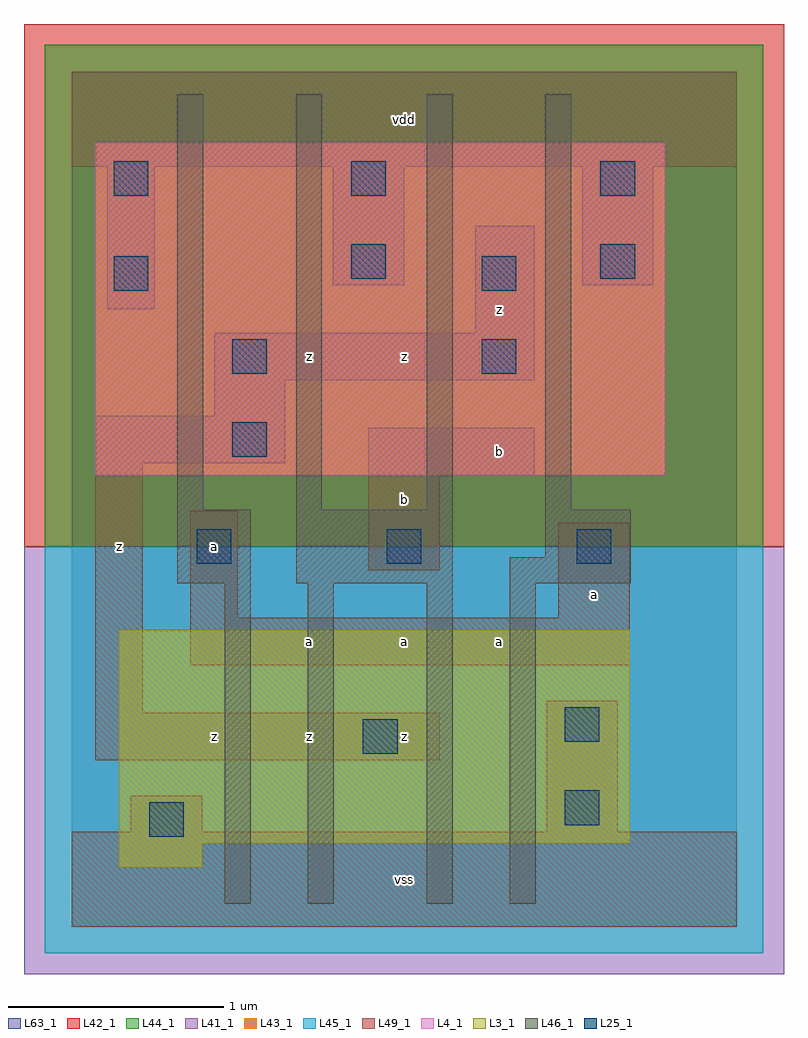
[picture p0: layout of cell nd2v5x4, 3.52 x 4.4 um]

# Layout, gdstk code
import gdstk
lib = gdstk.Library(unit=1e-6, precision=1e-09)
def R(c, l, rs):  # rectangles x0, y0, x1, y1
    for r in rs: c.add(gdstk.rectangle(r[:2], r[2:], *l))
def A(c, l, x, y, w, h, nx, ny, dx, dy):  # array of equal rectangles
    R(c, l, [(x+i*dx, y+j*dy, x+i*dx+w, y+j*dy+h) for i in range(nx) for j in range(ny)])
L3_1 = (3, 1)
L4_1 = (4, 1)
L25_1 = (25, 1)
L41_1 = (41, 1)
L42_1 = (42, 1)
L43_1 = (43, 1)
L44_1 = (44, 1)
L45_1 = (45, 1)
L46_1 = (46, 1)
L49_1 = (49, 1)
L63_1 = (63, 1)

nd2v5x4 = lib.new_cell('nd2v5x4')
R(nd2v5x4, L3_1, [(0.22,0.275,0.605,0.385), (0.22,0.385,2.585,1.375)])
R(nd2v5x4, L4_1, [(0.11,2.09,2.75,3.63)])
A(nd2v5x4, L25_1, 0.58, 1.68, 0.16, 0.16, 3, 1, 0.88, 0)
R(nd2v5x4, L25_1, [(0.36,0.415,0.52,0.575), (2.285,0.47,2.445,0.63), (1.35,0.8,1.51,0.96), (2.285,0.855,2.445,1.015), (0.745,2.175,0.905,2.335), (0.745,2.56,0.905,2.72), (1.9,2.56,2.06,2.72), (0.195,2.945,0.355,3.105), (1.9,2.945,2.06,3.105), (1.295,3,1.455,3.16), (2.45,3,2.61,3.16), (0.195,3.385,0.355,3.545), (1.295,3.385,1.455,3.545), (2.45,3.385,2.61,3.545)])
R(nd2v5x4, L41_1, [(-0.22,-0.22,3.3,1.76)])
R(nd2v5x4, L42_1, [(-0.22,1.76,3.3,4.18)])
R(nd2v5x4, L43_1, [(0.22,0.275,0.605,0.385), (0.22,0.385,2.585,1.375), (0.11,2.09,2.75,3.63)])
R(nd2v5x4, L44_1, [(-0.125,1.76,3.205,4.085)])
R(nd2v5x4, L45_1, [(-0.125,-0.125,3.205,1.76)])
R(nd2v5x4, L46_1, [(0.71,0.105,0.83,1.59), (1.095,0.105,1.215,1.59), (1.645,0.105,1.765,1.59), (2.03,0.105,2.15,1.59), (0.49,1.59,0.83,1.93), (1.04,1.59,1.765,1.93), (2.03,1.59,2.59,1.71), (2.195,1.71,2.59,1.93), (0.49,1.93,0.61,3.855), (1.04,1.93,1.16,3.855), (1.645,1.93,1.765,3.855), (2.195,1.93,2.315,3.855)])
R(nd2v5x4, L49_1, [(0,0,3.08,0.44), (0.275,0.44,0.605,0.605), (2.2,0.44,2.53,1.045), (0.11,0.77,1.705,0.99), (0.11,0.99,0.33,2.145), (0.55,1.21,2.585,1.43), (0.55,1.43,0.77,1.925), (2.255,1.43,2.585,1.87), (1.375,1.65,1.705,2.09), (1.375,2.09,2.145,2.31), (0.11,2.145,0.99,2.365), (0.66,2.365,0.99,2.53), (0.66,2.53,2.145,2.75), (1.87,2.75,2.145,3.245), (0.165,2.86,0.385,3.52), (1.21,2.97,1.54,3.52), (2.365,2.97,2.695,3.52), (0,3.52,3.08,3.96)])
R(nd2v5x4, L63_1, [(0,0,3.08,3.96)])
nd2v5x4.add(gdstk.Label('z', (0.22,1.76), layer=49, texttype=1))
nd2v5x4.add(gdstk.Label('z', (1.1,0.88), layer=49, texttype=1))
nd2v5x4.add(gdstk.Label('z', (0.66,0.88), layer=49, texttype=1))
nd2v5x4.add(gdstk.Label('a', (0.66,1.76), layer=49, texttype=1))
nd2v5x4.add(gdstk.Label('a', (1.1,1.32), layer=49, texttype=1))
nd2v5x4.add(gdstk.Label('z', (1.1,2.64), layer=49, texttype=1))
nd2v5x4.add(gdstk.Label('vss', (1.54,0.22), layer=49, texttype=1))
nd2v5x4.add(gdstk.Label('z', (1.54,0.88), layer=49, texttype=1))
nd2v5x4.add(gdstk.Label('a', (1.54,1.32), layer=49, texttype=1))
nd2v5x4.add(gdstk.Label('a', (1.98,1.32), layer=49, texttype=1))
nd2v5x4.add(gdstk.Label('b', (1.98,2.2), layer=49, texttype=1))
nd2v5x4.add(gdstk.Label('b', (1.54,1.98), layer=49, texttype=1))
nd2v5x4.add(gdstk.Label('z', (1.54,2.64), layer=49, texttype=1))
nd2v5x4.add(gdstk.Label('z', (1.98,2.86), layer=49, texttype=1))
nd2v5x4.add(gdstk.Label('vdd', (1.54,3.74), layer=49, texttype=1))
nd2v5x4.add(gdstk.Label('a', (2.42,1.54), layer=49, texttype=1))

lib.write_gds('nd2v5x4.gds')
